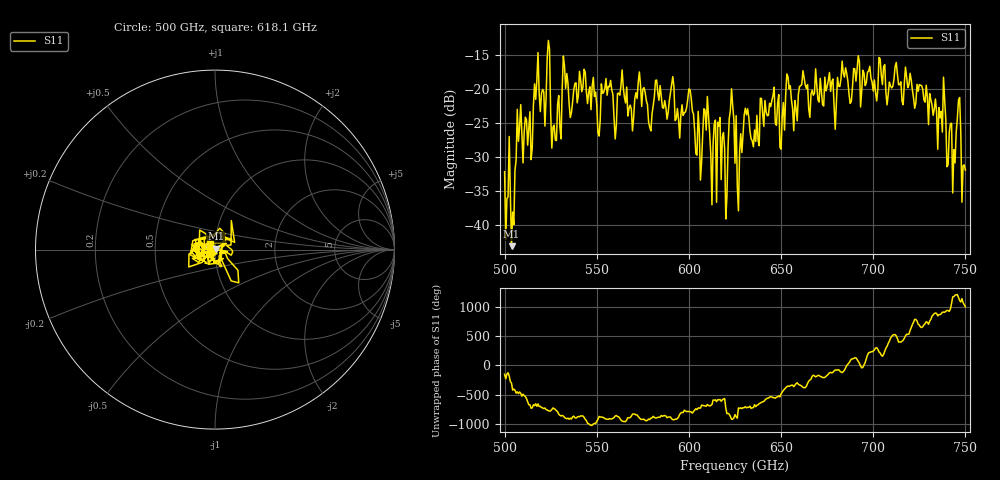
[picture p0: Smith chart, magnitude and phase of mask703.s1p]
!Created with skrf (http://scikit-rf.org).
# GHz S MA R 50.0
!freq magS11 angS11
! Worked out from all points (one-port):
!   401 points, 500 GHz to 750 GHz, reference 50 ohm
!   lowest |S11| = -43.0 dB at 503.8 GHz (marker M1), VSWR 1.01, Z = 50.4 + j0.586 ohm
!   |S11| at or under -10 dB: start of sweep to end of sweep
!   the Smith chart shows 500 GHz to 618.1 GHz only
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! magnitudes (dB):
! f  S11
! 500 GHz  -32.1
! 503.8 GHz  -43.0
! 507.5 GHz  -27.7
! 513.8 GHz  -23.3
! 516.9 GHz  -21.5
! 523.8 GHz  -12.9
! 526.9 GHz  -25.3
! 531.2 GHz  -19.9
! 562.5 GHz  -20.9
! 579.4 GHz  -26.1
! 590.6 GHz  -19.4
! 593.8 GHz  -22.8
! 600.6 GHz  -20.1
! 605.6 GHz  -26.2
! 609.4 GHz  -26.0
! 620 GHz  -39.1
! 623.1 GHz  -20.0
! 625 GHz  -30.9
! 627.5 GHz  -29.2
! 631.2 GHz  -23.8
! 635 GHz  -28.5
! 656.2 GHz  -22.9
! 687.5 GHz  -22.1
! 718.8 GHz  -19.8
! 738.1 GHz  -18.2
! 743.8 GHz  -28.9
! 746.2 GHz  -21.7
! 750 GHz  -31.9
